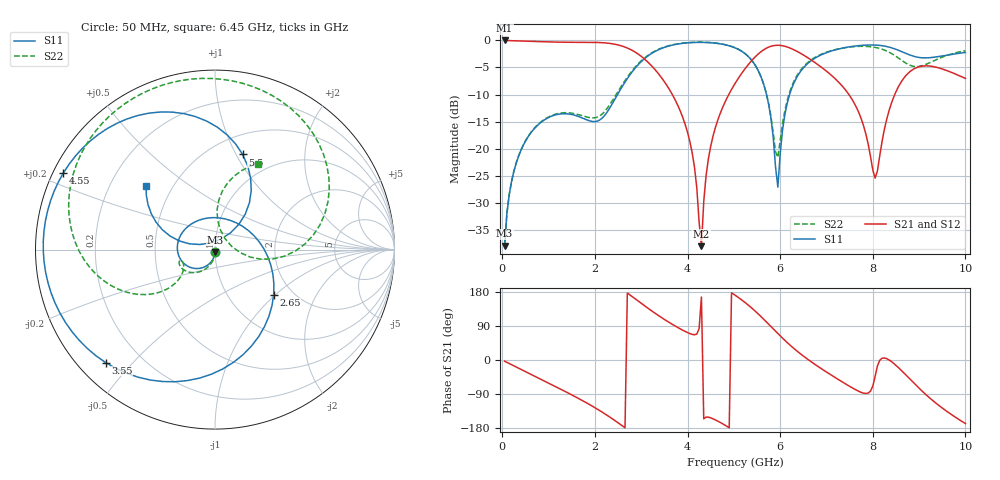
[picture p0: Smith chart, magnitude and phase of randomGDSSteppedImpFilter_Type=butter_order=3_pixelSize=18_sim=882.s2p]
! freq	dB(S11)	phase(S11)	dB(S12)	phase(S12)
!  dB(S21)	phase(S21)	dB(S22)	phase(S22)
!S-par simulation data
#  GHz  S  DB  R 50
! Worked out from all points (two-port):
!   200 points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, 50 MHz to 10 GHz, reference 50 ohm
!   highest |S21| = -0.02 dB at 50 MHz (marker M1); lowest = -38.0 dB at 4.3 GHz (marker M2)
!   |S21| within 3 dB of the highest: start of sweep to 3.011 GHz; 5.465 GHz to 6.562 GHz (1.097 GHz wide, 18.3 % of centre)
!   lowest |S11| = -37.8 dB at 50 MHz (marker M3), VSWR 1.03, Z = 50.1 - j1.28 ohm
!   |S11| at or under -10 dB: start of sweep to 2.488 GHz; 5.705 GHz to 6.204 GHz (498.6 MHz wide, 8.37 % of centre)
!   |S22| runs from -37.8 to -0.3 dB; largest |S21 - S12| = 0
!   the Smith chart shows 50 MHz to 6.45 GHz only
!   S11 on the Smith chart (normalised r, x): 50 MHz: 1.00, -0.03; 2.65 GHz: 1.61, -0.97; 3.55 GHz: 0.08, -0.42; 4.55 GHz: 0.03, +0.24; 5.5 GHz: 0.70, +1.06; 6.45 GHz: 0.36, +0.35
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0.05  -37.85 -86.6  -0.02 -3.1  -0.02 -3.1  -37.80 -86.1
0.2  -26.03 -100.5  -0.06 -12.4  -0.06 -12.4  -25.98 -97.8
0.55  -17.87 -126.6  -0.15 -33.8  -0.15 -33.8  -17.82 -118.6
1.75  -14.39 126.3  -0.36 -108.3  -0.36 -108.3  -13.96 -162.2
2.65  -7.69 -37.6  -1.24 -178.8  -1.24 -178.8  -7.40 -144.6
3.4  -1.62 -121.0  -6.46 115.0  -6.46 115.0  -1.55 166.5
3.55  -1.15 -134.1  -8.26 103.2  -8.26 103.2  -1.09 155.8
4.05  -0.43 -172.3  -18.65 69.8  -18.65 69.8  -0.39 121.4
4.3  -0.37 170.3  -37.96 166.1  -37.96 166.1  -0.34 104.7
4.55  -0.48 153.2  -17.68 -155.1  -17.68 -155.1  -0.45 87.6
5.05  -1.47 115.8  -7.62 169.1  -7.62 169.1  -1.44 49.8
5.5  -5.16 73.8  -2.72 124.6  -2.72 124.6  -5.14 8.4
5.95  -27.07 123.2  -0.91 69.8  -0.91 69.8  -21.58 49.7
6.1  -13.77 166.3  -1.09 52.0  -1.09 52.0  -13.01 87.0
6.45  -5.62 137.2  -2.44 15.2  -2.44 15.2  -5.40 63.3
6.7  -3.57 115.5  -3.79 -7.3  -3.79 -7.3  -3.42 42.9
7.55  -1.13 45.9  -10.85 -73.1  -10.85 -73.1  -1.19 -24.1
8.05  -0.86 1.6  -25.41 -43.6  -25.41 -43.6  -1.30 -73.2
8.35  -1.24 -26.6  -13.01 0.3  -13.01 0.3  -2.17 -114.1
8.7  -2.36 -56.7  -6.65 -37.7  -6.65 -37.7  -4.12 179.8
9.1  -3.23 -82.5  -4.72 -86.0  -4.72 -86.0  -4.59 92.8
10  -2.23 -145.7  -7.02 -167.6  -7.02 -167.6  -1.91 -12.9
